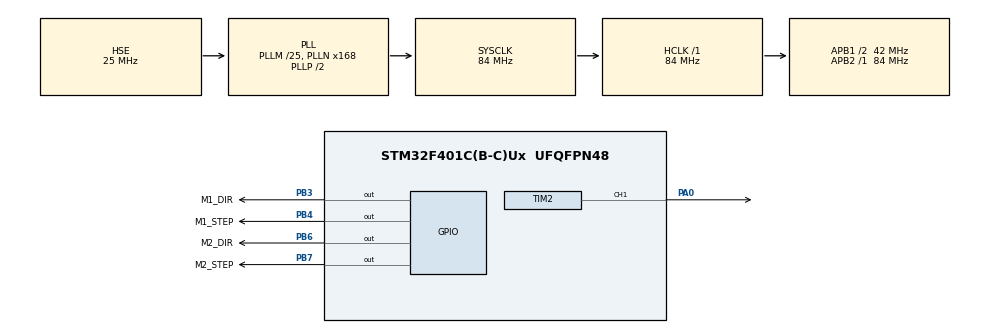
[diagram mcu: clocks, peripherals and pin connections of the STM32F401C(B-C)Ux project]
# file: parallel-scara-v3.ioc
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Mcu.Family=STM32F4
Mcu.Name=STM32F401C(B-C)Ux
Mcu.Package=UFQFPN48
NVIC.PriorityGroup=NVIC_PRIORITYGROUP_4
NVIC.TIM2_IRQn=true\:0\:0\:false\:false\:true\:true\:true
PA0-WKUP.Signal=S_TIM2_CH1_ETR
PA13.Mode=Serial_Wire
PA13.Signal=SYS_JTMS-SWDIO
PA14.Mode=Serial_Wire
PA14.Signal=SYS_JTCK-SWCLK
PB3.GPIO_Label=M1_DIR
PB3.Signal=GPIO_Output
PB4.GPIO_Label=M1_STEP
PB4.Signal=GPIO_Output
PB6.GPIO_Label=M2_DIR
PB6.Signal=GPIO_Output
PB7.GPIO_Label=M2_STEP
PB7.Signal=GPIO_Output
PH0\ -\ OSC_IN.Mode=HSE-External-Oscillator
PH0\ -\ OSC_IN.Signal=RCC_OSC_IN
PH1\ -\ OSC_OUT.Mode=HSE-External-Oscillator
PH1\ -\ OSC_OUT.Signal=RCC_OSC_OUT
ProjectManager.HeapSize=0x200
ProjectManager.StackSize=0x400
ProjectManager.TargetToolchain=STM32CubeIDE
RCC.48MHZClocksFreq_Value=42000000
RCC.AHBFreq_Value=84000000
RCC.APB1CLKDivider=RCC_HCLK_DIV2
RCC.APB1Freq_Value=42000000
RCC.APB1TimFreq_Value=84000000
RCC.APB2Freq_Value=84000000
RCC.APB2TimFreq_Value=84000000
RCC.CortexFreq_Value=84000000
RCC.HCLKFreq_Value=84000000
RCC.HSE_VALUE=25000000
RCC.HSI_VALUE=16000000
RCC.LSE_VALUE=32768
RCC.PLLM=25
RCC.PLLN=168
RCC.PLLSourceVirtual=RCC_PLLSOURCE_HSE
RCC.SYSCLKFreq_VALUE=84000000
RCC.SYSCLKSource=RCC_SYSCLKSOURCE_PLLCLK
RCC.VCOOutputFreq_Value=168000000
SH.S_TIM2_CH1_ETR.0=TIM2_CH1,PWM Generation1 CH1
TIM2.Channel-PWM\ Generation1\ CH1=TIM_CHANNEL_1
TIM2.Period=59999
TIM2.Prescaler=27
TIM3.Prescaler=83
VP_TIM2_VS_ClockSourceINT.Mode=Internal
VP_TIM3_VS_ClockSourceINT.Mode=Internal
board=custom

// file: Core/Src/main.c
/* USER CODE BEGIN Header */
/**
  ******************************************************************************
  * @file           : main.c
  * @brief          : Main program body
  ******************************************************************************
  * @attention
  *
  * <h2><center>&copy; Copyright (c) 2021 STMicroelectronics.
  * All rights reserved.</center></h2>
  *
  * This software component is licensed by ST under BSD 3-Clause license,
  * the "License"; You may not use this file except in compliance with the
  * License. You may obtain a copy of the License at:
  *                        opensource.org/licenses/BSD-3-Clause
  *
  ******************************************************************************
  */
/* USER CODE END Header */
#include "main.h"

TIM_HandleTypeDef htim2;
TIM_HandleTypeDef htim3;

/* USER CODE BEGIN PV */
TIM_HandleTypeDef *htim = &htim2;
TIM_HandleTypeDef *htim_ms = &htim3;

/* USER CODE END PV */

void SystemClock_Config(void);
static void MX_GPIO_Init(void);
static void MX_TIM2_Init(void);
static void MX_TIM3_Init(void);

int main(void)
{

  /* MCU Configuration--------------------------------------------------------*/

  /* Reset of all peripherals, Initializes the Flash interface and the Systick. */
  HAL_Init();

  /* Configure the system clock */
  SystemClock_Config();

  /* Initialize all configured peripherals */
  MX_GPIO_Init();
  MX_TIM2_Init();
  MX_TIM3_Init();
  /* USER CODE BEGIN 2 */

  HAL_TIM_PWM_Start(&htim2, TIM_CHANNEL_1);
  HAL_TIM_Base_Start(&htim3);

  /* USER CODE END 2 */

  /* Infinite loop */
  /* USER CODE BEGIN WHILE */
  while (1)
  {
    lift();

    HAL_Delay(5000);

    draw_line(-75.0, 250.0, 175.0, 250.0, true);
    draw_line(175.0, 250.0, 175.0, 380.0, true);
    draw_line(175.0, 380.0, -75.0, 380.0, true);
    draw_line(-75.0, 380.0, -75.0, 250.0, false);

    draw_line(-50.0, 275.0, 150.0, 275.0, true);
    draw_line(150.0, 275.0, 150.0, 355.0, true);
    draw_line(150.0, 355.0, -50.0, 355.0, true);
    draw_line(-50.0, 355.0, -50.0, 275.0, false);

    draw_line(-25.0, 300.0, 125.0, 300.0, true);
    draw_line(125.0, 300.0, 125.0, 320.0, true);
    draw_line(125.0, 320.0, -25.0, 320.0, true);
    draw_line(-25.0, 320.0, -25.0, 300.0, false);

    draw_circle(50.0, 315.0, 60.0);
    draw_circle(50.0, 315.0, 50.0);
    draw_circle(50.0, 315.0, 40.0);

    HAL_Delay(30000);

    /* USER CODE END WHILE */

  }
}

void SystemClock_Config(void)
{
  RCC_OscInitTypeDef RCC_OscInitStruct = {0};
  RCC_ClkInitTypeDef RCC_ClkInitStruct = {0};

  /** Configure the main internal regulator output voltage
  */
  __HAL_RCC_PWR_CLK_ENABLE();
  __HAL_PWR_VOLTAGESCALING_CONFIG(PWR_REGULATOR_VOLTAGE_SCALE2);
  /** Initializes the RCC Oscillators according to the specified parameters
  * in the RCC_OscInitTypeDef structure.
  */
  RCC_OscInitStruct.OscillatorType = RCC_OSCILLATORTYPE_HSE;
  RCC_OscInitStruct.HSEState = RCC_HSE_ON;
  RCC_OscInitStruct.PLL.PLLState = RCC_PLL_ON;
  RCC_OscInitStruct.PLL.PLLSource = RCC_PLLSOURCE_HSE;
  RCC_OscInitStruct.PLL.PLLM = 25;
  RCC_OscInitStruct.PLL.PLLN = 168;
  RCC_OscInitStruct.PLL.PLLP = RCC_PLLP_DIV2;
  RCC_OscInitStruct.PLL.PLLQ = 4;
  if (HAL_RCC_OscConfig(&RCC_OscInitStruct) != HAL_OK)
  {
    Error_Handler();
  }
  /** Initializes the CPU, AHB and APB buses clocks
  */
  RCC_ClkInitStruct.ClockType = RCC_CLOCKTYPE_HCLK|RCC_CLOCKTYPE_SYSCLK
                              |RCC_CLOCKTYPE_PCLK1|RCC_CLOCKTYPE_PCLK2;
  RCC_ClkInitStruct.SYSCLKSource = RCC_SYSCLKSOURCE_PLLCLK;
  RCC_ClkInitStruct.AHBCLKDivider = RCC_SYSCLK_DIV1;
  RCC_ClkInitStruct.APB1CLKDivider = RCC_HCLK_DIV2;
  RCC_ClkInitStruct.APB2CLKDivider = RCC_HCLK_DIV1;

  if (HAL_RCC_ClockConfig(&RCC_ClkInitStruct, FLASH_LATENCY_2) != HAL_OK)
  {
    Error_Handler();
  }
}

static void MX_TIM2_Init(void)
{

  TIM_ClockConfigTypeDef sClockSourceConfig = {0};
  TIM_MasterConfigTypeDef sMasterConfig = {0};
  TIM_OC_InitTypeDef sConfigOC = {0};

  htim2.Instance = TIM2;
  htim2.Init.Prescaler = 27;
  htim2.Init.CounterMode = TIM_COUNTERMODE_UP;
  htim2.Init.Period = 59999;
  htim2.Init.ClockDivision = TIM_CLOCKDIVISION_DIV1;
  htim2.Init.AutoReloadPreload = TIM_AUTORELOAD_PRELOAD_DISABLE;
  if (HAL_TIM_Base_Init(&htim2) != HAL_OK)
  {
    Error_Handler();
  }
  sClockSourceConfig.ClockSource = TIM_CLOCKSOURCE_INTERNAL;
  if (HAL_TIM_ConfigClockSource(&htim2, &sClockSourceConfig) != HAL_OK)
  {
    Error_Handler();
  }
  if (HAL_TIM_PWM_Init(&htim2) != HAL_OK)
  {
    Error_Handler();
  }
  sMasterConfig.MasterOutputTrigger = TIM_TRGO_RESET;
  sMasterConfig.MasterSlaveMode = TIM_MASTERSLAVEMODE_DISABLE;
  if (HAL_TIMEx_MasterConfigSynchronization(&htim2, &sMasterConfig) != HAL_OK)
  {
    Error_Handler();
  }
  sConfigOC.OCMode = TIM_OCMODE_PWM1;
  sConfigOC.Pulse = 0;
  sConfigOC.OCPolarity = TIM_OCPOLARITY_HIGH;
  sConfigOC.OCFastMode = TIM_OCFAST_DISABLE;
  if (HAL_TIM_PWM_ConfigChannel(&htim2, &sConfigOC, TIM_CHANNEL_1) != HAL_OK)
  {
    Error_Handler();
  }
  HAL_TIM_MspPostInit(&htim2);

}

static void MX_TIM3_Init(void)
{

  TIM_ClockConfigTypeDef sClockSourceConfig = {0};
  TIM_MasterConfigTypeDef sMasterConfig = {0};

  htim3.Instance = TIM3;
  htim3.Init.Prescaler = 83;
  htim3.Init.CounterMode = TIM_COUNTERMODE_UP;
  htim3.Init.Period = 65535;
  htim3.Init.ClockDivision = TIM_CLOCKDIVISION_DIV1;
  htim3.Init.AutoReloadPreload = TIM_AUTORELOAD_PRELOAD_DISABLE;
  if (HAL_TIM_Base_Init(&htim3) != HAL_OK)
  {
    Error_Handler();
  }
  sClockSourceConfig.ClockSource = TIM_CLOCKSOURCE_INTERNAL;
  if (HAL_TIM_ConfigClockSource(&htim3, &sClockSourceConfig) != HAL_OK)
  {
    Error_Handler();
  }
  sMasterConfig.MasterOutputTrigger = TIM_TRGO_RESET;
  sMasterConfig.MasterSlaveMode = TIM_MASTERSLAVEMODE_DISABLE;
  if (HAL_TIMEx_MasterConfigSynchronization(&htim3, &sMasterConfig) != HAL_OK)
  {
    Error_Handler();
  }

}

static void MX_GPIO_Init(void)
{
  GPIO_InitTypeDef GPIO_InitStruct = {0};

  /* GPIO Ports Clock Enable */
  __HAL_RCC_GPIOH_CLK_ENABLE();
  __HAL_RCC_GPIOA_CLK_ENABLE();
  __HAL_RCC_GPIOB_CLK_ENABLE();

  /*Configure GPIO pin Output Level */
  HAL_GPIO_WritePin(GPIOB, M1_DIR_Pin|M1_STEP_Pin|M2_DIR_Pin|M2_STEP_Pin, GPIO_PIN_RESET);

  /*Configure GPIO pins : M1_DIR_Pin M1_STEP_Pin M2_DIR_Pin M2_STEP_Pin */
  GPIO_InitStruct.Pin = M1_DIR_Pin|M1_STEP_Pin|M2_DIR_Pin|M2_STEP_Pin;
  GPIO_InitStruct.Mode = GPIO_MODE_OUTPUT_PP;
  GPIO_InitStruct.Pull = GPIO_NOPULL;
  GPIO_InitStruct.Speed = GPIO_SPEED_FREQ_LOW;
  HAL_GPIO_Init(GPIOB, &GPIO_InitStruct);

}

void Error_Handler(void)
{
}

/************************ (C) COPYRIGHT STMicroelectronics *****END OF FILE****/
